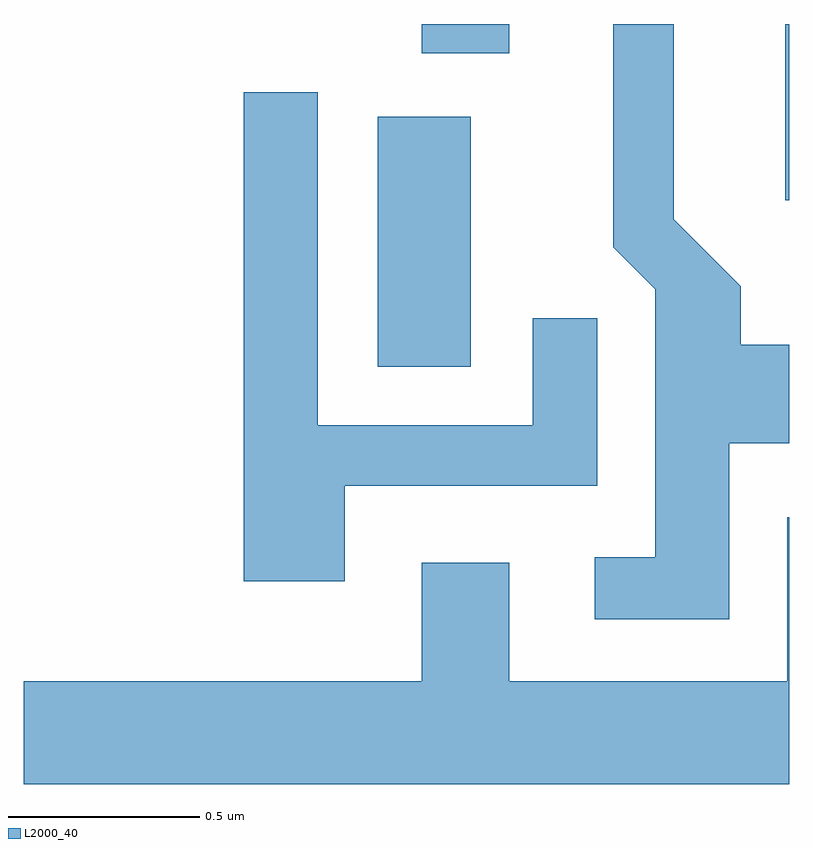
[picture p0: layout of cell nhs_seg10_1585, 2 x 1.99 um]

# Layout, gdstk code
import gdstk
lib = gdstk.Library(unit=1e-6, precision=1e-09)
def R(c, l, rs):  # rectangles x0, y0, x1, y1
    for r in rs: c.add(gdstk.rectangle(r[:2], r[2:], *l))
def P(c, l, *ps):  # polygons
    for p in ps: c.add(gdstk.Polygon(p, *l))
L2000_40 = (2000, 40)

nhs_seg10_1585 = lib.new_cell('nhs_seg10_1585')
R(nhs_seg10_1585, L2000_40, [(197.536,2161.626,197.779,2162.279), (198.601,2162.061,198.611,2162.522), (197.651,2162.446,197.879,2162.522)])
P(nhs_seg10_1585, L2000_40, [(198.454,2161.426),(198.611,2161.426),(198.611,2161.684),(198.484,2161.684),(198.484,2161.837),(198.309,2162.012),(198.309,2162.522),(198.151,2162.522),(198.151,2161.939),(198.261,2161.829),(198.261,2161.129),(198.103,2161.129),(198.103,2160.966),(198.454,2160.966)],
  [(197.449,2161.316),(198.109,2161.316),(198.109,2161.753),(197.941,2161.753),(197.941,2161.474),(197.379,2161.474),(197.379,2162.344),(197.186,2162.344),(197.186,2161.066),(197.449,2161.066)],
  [(198.611,2161.233),(198.606,2161.233),(198.606,2160.804),(197.879,2160.804),(197.879,2161.114),(197.651,2161.114),(197.651,2160.804),(196.611,2160.804),(196.611,2160.536),(198.611,2160.536)])

lib.write_gds('nhs_seg10_1585.gds')
